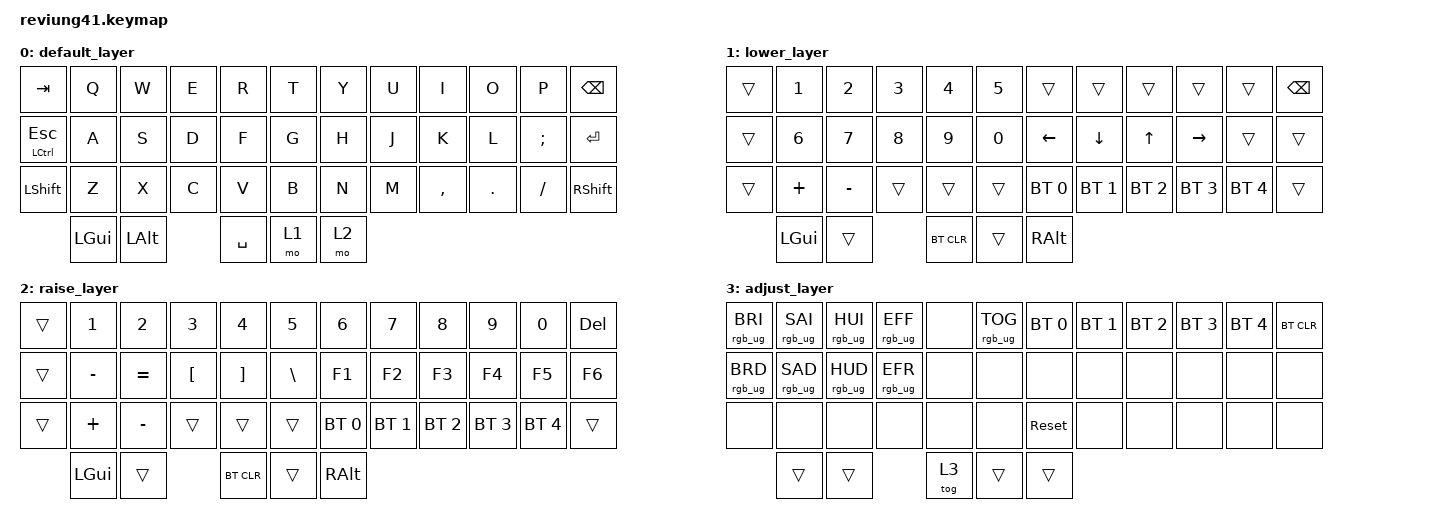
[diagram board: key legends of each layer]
/*
 * Copyright (c) 2020 The ZMK Contributors
 *
 * SPDX-License-Identifier: MIT
 */

#include <behaviors.dtsi>
#include <dt-bindings/zmk/keys.h>
#include <dt-bindings/zmk/bt.h>
#include <dt-bindings/zmk/rgb.h>

/ {
        keymap {
                compatible = "zmk,keymap";

                default_layer {
// -------------------------------------------------------------------------------------
// | ESC  |  Q  |  W  |  E  |  R  |  T  |   |  Y  |  U  |  I  |  O  |  P  | BKSP |
// | TAB  |  A  |  S  |  D  |  F  |  G  |   |  H  |  J  |  K  |  L  |  ;  | RET  |
// | SHFT |  Z  |  X  |  C  |  V  |  B  |   |  N  |  M  |  ,  |  .  |  /  | SHFT |
//                    | GUI | ALT | SPC | mo1 | mo2 |
                        bindings = <
   &kp TAB       &kp Q &kp W &kp E &kp R &kp T   &kp Y &kp U  &kp I     &kp O   &kp P    &kp BSPC
   &mt LCTRL ESC &kp A &kp S &kp D &kp F &kp G   &kp H &kp J  &kp K     &kp L   &kp SEMI &kp RET
   &kp LSHFT     &kp Z &kp X &kp C &kp V &kp B   &kp N &kp M  &kp COMMA &kp DOT &kp FSLH &kp RSHFT
               &kp LGUI &kp LALT &kp SPACE &mo 1 &mo 2
                        >;
                };

                lower_layer {
// ------------------------------------------------------------------------------------
// |    |  1  |  2  |  3  |  4  |  5  |   |     |     |     |     |     | BKSP |
// |    |  6  |  7  |  8  |  9  |  0  |   | LFT | DWN |  UP | RGT |     | RET  |
// |    |     |     |     |     |     |   |     |     |     |     |     |      |
//                    | GUI |     | SPC | ENT |     |
                        bindings = <
   &trans &kp N1   &kp N2    &kp N3 &kp N4 &kp N5  &trans       &trans       &trans       &trans       &trans       &kp BKSP
   &trans &kp N6   &kp N7    &kp N8 &kp N9 &kp N0  &kp LEFT     &kp DOWN     &kp UP       &kp RIGHT    &trans       &trans
   &trans &kp PLUS &kp MINUS &trans &trans &trans  &bt BT_SEL 0 &bt BT_SEL 1 &bt BT_SEL 2 &bt BT_SEL 3 &bt BT_SEL 4 &trans
               &kp LGUI  &trans       &bt BT_CLR   &trans   &kp RALT
                        >;
                };

                raise_layer {
// ----------------------------------------------------------------------------
// |    |  1  |  2  |  3  |  4  |  5  |   |  6  |  7  |  8  |  9  |  0  | DEL |
// |    |  -  |  =  |  [  |  ]  |  \  |   | F1  | F2  | F3  | F4  | F5  | F6  |
// |    | ESC | GUI | ALT | CAPS|  "  |   | F7  | F8  | F9  | F10 | F11 | F12 |
//                       |     | ADJ | BKSP |    |     |
                        bindings = <
   &trans &kp N1    &kp N2    &kp N3    &kp N4    &kp N5        &kp N6    &kp N7    &kp N8    &kp N9    &kp N0    &kp DEL
   &trans &kp MINUS &kp EQUAL &kp LBKT  &kp RBKT  &kp BSLH      &kp F1    &kp F2    &kp F3    &kp F4    &kp F5    &kp F6
   &trans &kp PLUS &kp MINUS &trans &trans &trans  &bt BT_SEL 0 &bt BT_SEL 1 &bt BT_SEL 2 &bt BT_SEL 3 &bt BT_SEL 4 &trans
               &kp LGUI  &trans       &bt BT_CLR   &trans   &kp RALT
                        >;
                };

   // &trans &kp ESC   &kp LGUI  &kp RALT  &kp CLCK  &kp DQT       &kp F7    &kp F8    &kp F9    &kp F10   &kp F11   &kp F12
   //                              &trans      &mo 3       &kp BSPC        &trans      &trans
                adjust_layer {
// -----------------------------------------------------------------------------------------
// | RGB BRI+ | RGB SAT+ | RGB HUE+ | RGB ANI+ |    | RGB TOG |   |  BT1  | BT2 | BT3 | BT4 | BT5 | BT CLR |
// | RGB BRI- | RGB SAT- | RGB HUE- | RGB ANI- |    |         |   |       |     |     |     |     |        |
// |          |          |          |          |    |         |   | RESET |     |     |     |     |        |
//                                              |     |     |     |     |     |
                        bindings = <
   &rgb_ug RGB_BRI &rgb_ug RGB_SAI &rgb_ug RGB_HUI &rgb_ug RGB_EFF &none &rgb_ug RGB_TOG    &bt BT_SEL 0 &bt BT_SEL 1 &bt BT_SEL 2 &bt BT_SEL 3 &bt BT_SEL 4 &bt BT_CLR
   &rgb_ug RGB_BRD &rgb_ug RGB_SAD &rgb_ug RGB_HUD &rgb_ug RGB_EFR &none &none              &none        &none        &none        &none        &none        &none
   &none           &none           &none           &none           &none &none              &sys_reset       &none        &none        &none        &none        &none
                                                             &trans      &trans       &tog 3        &trans      &trans
                        >;
                };
        };
};
